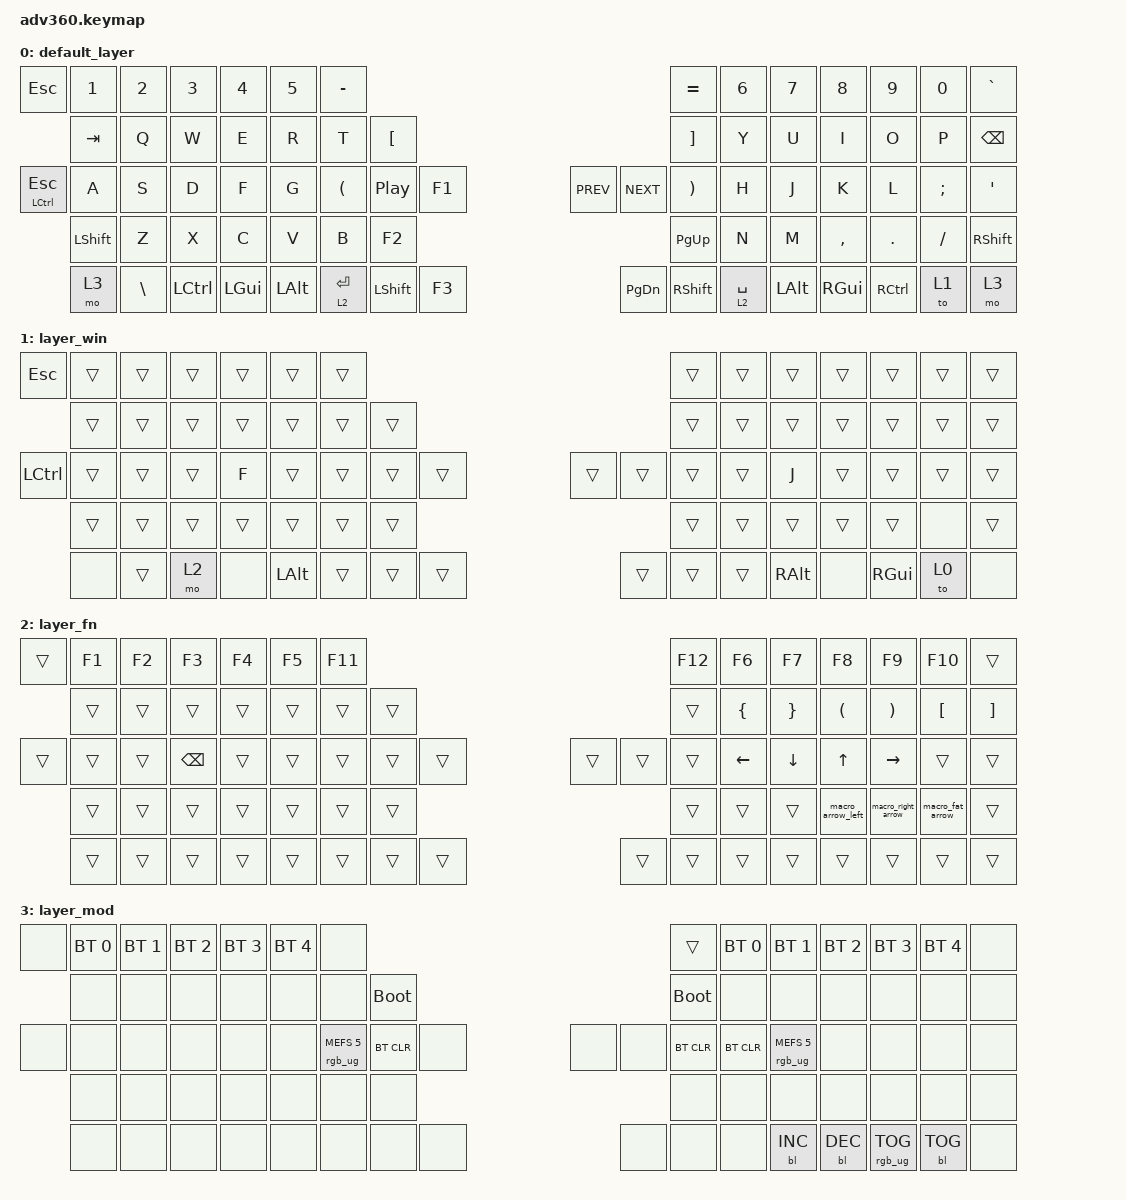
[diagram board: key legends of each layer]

/*
 * Copyright (c) 2020 The ZMK Contributors
 *
 * SPDX-License-Identifier: MIT
 */


/* THIS FILE WAS GENERATED!
 *
 * This file was generated automatically. You may or may not want to
 * edit it directly.
 */

#include <behaviors.dtsi>
#include <dt-bindings/zmk/keys.h>
#include <dt-bindings/zmk/bt.h>
#include <dt-bindings/zmk/rgb.h>
#include <dt-bindings/zmk/backlight.h>

/ {
  behaviors {
    #include "macros.dtsi"

    hm: homerow_mods {
        compatible = "zmk,behavior-hold-tap";
        label = "HOMEROW_MODS";
        #binding-cells = <2>;
        tapping-term-ms = <200>;
        quick_tap_ms = <175>;
        flavor = "tap-preferred";
        bindings = <&kp>, <&kp>;
    };
  };

    keymap {
        compatible = "zmk,keymap";


        default_layer {
            bindings = <
        &kp ESC         &kp N1     &kp N2        &kp N3        &kp N4  &kp N5                       &kp MINUS                                                                                        &kp EQUAL  &kp N6        &kp N7         &kp N8     &kp N9         &kp N0         &kp GRAVE
        &kp TAB          &kp Q      &kp W         &kp E         &kp R   &kp T                &kp LEFT_BRACKET                                                                                &kp RIGHT_BRACKET   &kp Y         &kp U          &kp I      &kp O          &kp P     &kp BACKSPACE
  &mt LCTRL ESC          &kp A      &kp S         &kp D         &kp F   &kp G            &kp LEFT_PARENTHESIS  &kp C_PLAY_PAUSE  &kp F1                     &kp C_PREV       &kp C_NEXT  &kp RIGHT_PARENTHESIS   &kp H         &kp J          &kp K      &kp L  &kp SEMICOLON  &kp SINGLE_QUOTE
 &kp LEFT_SHIFT          &kp Z      &kp X         &kp C         &kp V   &kp B                                                    &kp F2                    &kp PAGE_UP                                           &kp N         &kp M      &kp COMMA    &kp DOT      &kp SLASH   &kp RIGHT_SHIFT
          &mo 3  &kp BACKSLASH  &kp LCTRL  &kp LEFT_GUI  &kp LEFT_ALT                             &lt 2 ENTER    &kp LEFT_SHIFT  &kp F3                  &kp PAGE_DOWN  &kp RIGHT_SHIFT            &lt 2 SPACE          &kp LEFT_ALT  &kp RIGHT_GUI  &kp RCTRL          &to 1             &mo 3
            >;
        };

        layer_win {
            bindings = <
          &kp ESC  &trans  &trans  &trans        &trans  &trans            &trans                                                  &trans  &trans         &trans  &trans         &trans  &trans  &trans
           &trans  &trans  &trans  &trans        &trans  &trans            &trans                                                  &trans  &trans         &trans  &trans         &trans  &trans  &trans
 &kp LEFT_CONTROL  &trans  &trans  &trans         &kp F  &trans            &trans  &trans  &trans                  &trans  &trans  &trans  &trans          &kp J  &trans         &trans  &trans  &trans
           &trans  &trans  &trans  &trans        &trans  &trans                            &trans                  &trans                  &trans         &trans  &trans         &trans   &none  &trans
            &none  &trans   &mo 2   &none  &kp LEFT_ALT                    &trans  &trans  &trans                  &trans  &trans  &trans          &kp RIGHT_ALT   &none  &kp RIGHT_GUI   &to 0   &none
            >;
        };

        layer_fn {
            bindings = <
 &trans  &kp F1  &kp F2         &kp F3  &kp F4  &kp F5            &kp F11                                                  &kp F12          &kp F6           &kp F7                &kp F8                 &kp F9           &kp F10             &trans
 &trans  &trans  &trans         &trans  &trans  &trans             &trans                                                   &trans  &kp LEFT_BRACE  &kp RIGHT_BRACE  &kp LEFT_PARENTHESIS  &kp RIGHT_PARENTHESIS  &kp LEFT_BRACKET  &kp RIGHT_BRACKET
 &trans  &trans  &trans  &kp BACKSPACE  &trans  &trans             &trans  &trans  &trans                  &trans  &trans   &trans        &kp LEFT         &kp DOWN                &kp UP              &kp RIGHT            &trans             &trans
 &trans  &trans  &trans         &trans  &trans  &trans                             &trans                  &trans                           &trans           &trans     &macro_arrow_left     &macro_right_arrow  &macro_fat_arrow             &trans
 &trans  &trans  &trans         &trans  &trans                     &trans  &trans  &trans                  &trans  &trans   &trans                           &trans                &trans                 &trans            &trans             &trans
            >;
        };

        layer_mod {
            bindings = <
  &none  &bt BT_SEL 0  &bt BT_SEL 1  &bt BT_SEL 2  &bt BT_SEL 3  &bt BT_SEL 4                             &none                                                           &trans  &bt BT_SEL 0            &bt BT_SEL 1  &bt BT_SEL 2     &bt BT_SEL 3  &bt BT_SEL 4   &none
  &none         &none         &none         &none         &none         &none                       &bootloader                                                      &bootloader         &none                   &none         &none            &none         &none   &none
  &none         &none         &none         &none         &none         &none            &rgb_ug RGB_MEFS_CMD 5  &bt BT_CLR   &none                   &none   &none   &bt BT_CLR    &bt BT_CLR  &rgb_ug RGB_MEFS_CMD 5         &none            &none         &none   &none
  &none         &none         &none         &none         &none         &none                                                 &none                   &none                              &none                   &none         &none            &none         &none   &none
  &none         &none         &none         &none         &none                                           &none       &none   &none                   &none   &none        &none                            &bl BL_INC    &bl BL_DEC  &rgb_ug RGB_TOG    &bl BL_TOG   &none
            >;
        };

    };
};
